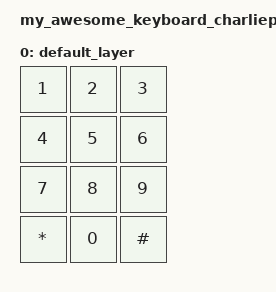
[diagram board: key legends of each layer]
/*
* Copyright (c) 2025 The ZMK Contributors
*
* SPDX-License-Identifier: MIT
*/

#include <behaviors.dtsi>
#include <dt-bindings/zmk/keys.h>

/ {
	keymap {
		compatible = "zmk,keymap";
		
		default_layer {
			bindings = <
			&kp N1  &kp N2  &kp N3
			&kp N4  &kp N5  &kp N6
			&kp N7  &kp N8  &kp N9
			&kp STAR &kp N0 &kp HASH
			>;
		};
	};
};
